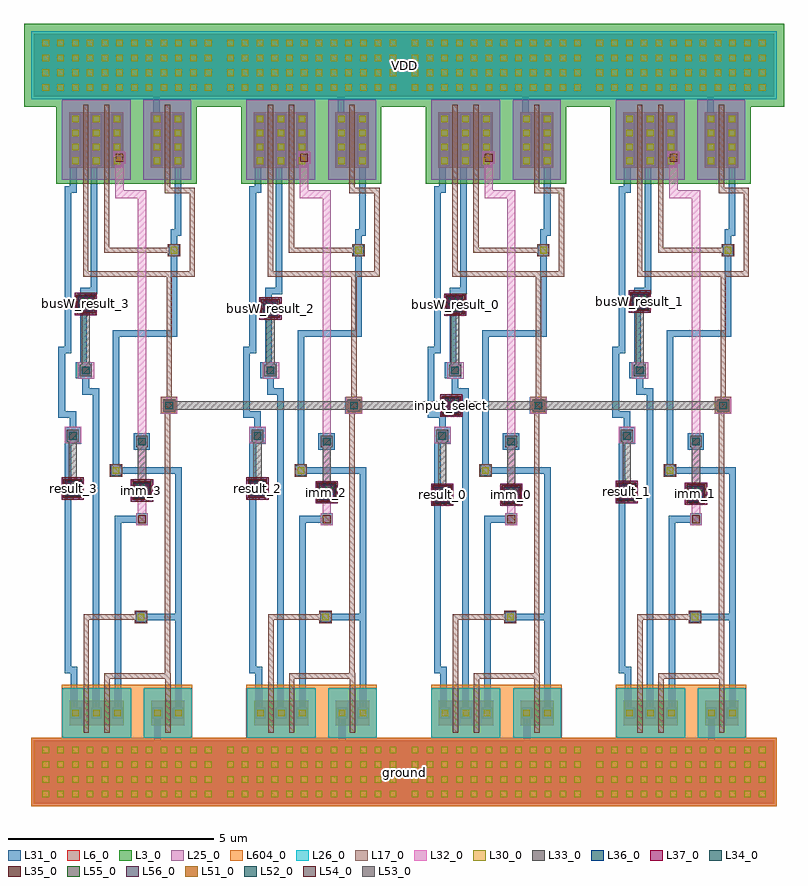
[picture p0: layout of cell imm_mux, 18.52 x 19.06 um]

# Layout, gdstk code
import gdstk
lib = gdstk.Library(unit=1e-6, precision=1e-09)
def R(c, l, rs):  # rectangles x0, y0, x1, y1
    for r in rs: c.add(gdstk.rectangle(r[:2], r[2:], *l))
def A(c, l, x, y, w, h, nx, ny, dx, dy):  # array of equal rectangles
    R(c, l, [(x+i*dx, y+j*dy, x+i*dx+w, y+j*dy+h) for i in range(nx) for j in range(ny)])
def P(c, l, *ps):  # polygons
    for p in ps: c.add(gdstk.Polygon(p, *l))
L3_0 = (3, 0)
L6_0 = (6, 0)
L17_0 = (17, 0)
L25_0 = (25, 0)
L26_0 = (26, 0)
L30_0 = (30, 0)
L31_0 = (31, 0)
L32_0 = (32, 0)
L33_0 = (33, 0)
L34_0 = (34, 0)
L35_0 = (35, 0)
L36_0 = (36, 0)
L37_0 = (37, 0)
L51_0 = (51, 0)
L52_0 = (52, 0)
L53_0 = (53, 0)
L54_0 = (54, 0)
L55_0 = (55, 0)
L56_0 = (56, 0)
L604_0 = (604, 0)

m2m3 = lib.new_cell('M2M3')
R(m2m3, L32_0, [(-0.145,-0.145,0.145,0.145)])
R(m2m3, L33_0, [(-0.145,-0.145,0.145,0.145)])
R(m2m3, L52_0, [(-0.095,-0.095,0.095,0.095)])

m1m2 = lib.new_cell('M1M2')
R(m1m2, L31_0, [(-0.145,-0.145,0.145,0.145)])
R(m1m2, L32_0, [(-0.145,-0.145,0.145,0.145)])
R(m1m2, L51_0, [(-0.095,-0.095,0.095,0.095)])

poly_m1 = lib.new_cell('POLY_M1')
R(poly_m1, L17_0, [(-0.15,-0.15,0.15,0.15)])
R(poly_m1, L30_0, [(-0.08,-0.08,0.08,0.08)])
R(poly_m1, L31_0, [(-0.13,-0.13,0.13,0.13)])

mux21 = lib.new_cell('Mux21')
R(mux21, L3_0, [(-1.815,108.335,1.605,110.465), (-2.605,110.205,2.415,112.225)])
R(mux21, L6_0, [(-2.365,93.225,2.175,94.765), (-1.495,95.135,-0.175,95.735), (0.495,95.135,1.305,95.735), (-1.505,108.725,-0.185,110.075), (0.485,108.725,1.295,110.075), (-2.365,110.445,2.175,111.985)])
R(mux21, L17_0, [(-1.155,94.955,-1.025,95.135), (-0.645,94.955,-0.515,95.135), (0.835,94.955,0.965,95.135), (-1.155,95.135,-1.025,95.735), (-0.645,95.135,-0.515,95.735), (0.835,95.135,0.965,95.735), (-1.155,95.735,-1.025,95.915), (-0.645,95.735,-0.515,95.915), (0.835,95.735,0.965,95.915), (0.835,95.785,0.965,96.4), (0.825,96.27,0.965,96.4), (0.825,96.27,0.955,102.99), (0.87,102.86,1,106.2), (0.87,106.07,1.56,106.2), (-1.165,108.545,-1.035,108.725), (-0.655,108.545,-0.525,108.725), (0.825,108.545,0.955,108.725), (-1.165,108.725,-1.035,110.075), (-0.655,108.725,-0.525,110.075), (0.825,108.725,0.955,110.075), (-1.165,110.075,-1.035,110.255), (-0.655,110.075,-0.525,110.255), (0.825,110.075,0.955,110.255)])
P(mux21, L17_0, [(-1.155,95.785),(-1.025,95.785),(-1.025,97.705),(0.31,97.705),(0.31,97.835),(-1.155,97.835)],
  [(-0.655,106.645),(1.115,106.645),(1.115,106.775),(-0.525,106.775),(-0.525,108.675),(-0.655,108.675)],
  [(0.825,108.1),(1.43,108.1),(1.43,106.07),(1.56,106.07),(1.56,108.23),(0.955,108.23),(0.955,108.675),(0.825,108.675)],
  [(-0.645,95.785),(-0.515,95.785),(-0.515,96.27),(0.955,96.27),(0.955,96.4),(-0.645,96.4)],
  [(-1.165,106.07),(1,106.07),(1,106.2),(-1.035,106.2),(-1.035,108.675),(-1.165,108.675)])
R(mux21, L25_0, [(-2.425,93.165,2.235,94.825), (-1.685,108.425,-0.005,110.375), (0.305,108.425,1.475,110.375)])
R(mux21, L26_0, [(-1.675,94.835,0.005,96.035), (0.315,94.835,1.485,96.035), (-2.425,110.385,2.235,112.045)])
A(mux21, L30_0, -2.155, 93.375, 0.16, 0.16, 12, 4, 0.36, 0.36)
A(mux21, L30_0, -1.425, 95.355, 0.16, 0.16, 3, 1, 0.51, 0)
A(mux21, L30_0, -1.435, 108.81, 0.16, 0.16, 3, 4, 0.51, 0.34)
A(mux21, L30_0, 0.555, 108.81, 0.16, 0.16, 1, 4, 0, 0.34)
A(mux21, L30_0, 1.065, 108.81, 0.16, 0.16, 1, 4, 0, 0.34)
A(mux21, L30_0, -2.155, 110.595, 0.16, 0.16, 12, 4, 0.36, 0.36)
R(mux21, L30_0, [(0.565,95.355,0.725,95.515), (1.075,95.355,1.235,95.515)])
A(mux21, L31_0, -1.475, 95.305, 0.26, 0.26, 3, 1, 0.51, 0)
A(mux21, L31_0, -1.485, 108.76, 0.26, 1.28, 3, 1, 0.51, 0)
R(mux21, L31_0, [(-2.345,93.245,2.155,94.745), (-2.345,93.245,2.155,94.745), (0.57,94.585,0.73,95.465), (0.515,95.305,0.775,95.565), (1.025,95.305,1.285,95.565), (1.075,95.405,1.235,97.85), (0.165,97.69,1.235,97.85), (0.065,101.85,0.465,102.25), (-1.61,102,-1.21,102.4), (0.725,102.73,1.125,103.13), (-1.35,103.585,-0.95,103.985), (0.505,108.76,0.765,110.04), (1.015,108.76,1.275,110.04), (-0.365,108.885,-0.2,109.045), (0.54,109.88,0.7,110.625), (-2.345,110.465,2.155,111.965), (-2.345,110.465,2.155,111.965)])
P(mux21, L31_0, [(0.97,106.63),(1.13,106.63),(1.13,107.06),(1.225,107.06),(1.225,108.92),(1.065,108.92),(1.065,107.22),(0.97,107.22)],
  [(-0.44,101.26),(-0.28,101.26),(-0.28,104.605),(1.13,104.605),(1.13,106.79),(0.97,106.79),(0.97,104.765),(-0.44,104.765)],
  [(-1.18,103.185),(-0.93,103.185),(-0.93,95.405),(-0.77,95.405),(-0.77,103.345),(-1.02,103.345),(-1.02,103.86),(-1.18,103.86)],
  [(-1.23,103.825),(-1.07,103.825),(-1.07,105.635),(-0.815,105.635),(-0.815,108.92),(-0.975,108.92),(-0.975,105.795),(-1.23,105.795)],
  [(-0.44,101.26),(1.075,101.26),(1.075,97.69),(1.235,97.69),(1.235,101.42),(-0.44,101.42)],
  [(-1.61,96.4),(-1.465,96.4),(-1.465,95.405),(-1.305,95.405),(-1.305,96.56),(-1.45,96.56),(-1.45,102.16),(-1.61,102.16)],
  [(-1.765,102.63),(-1.49,102.63),(-1.49,102.24),(-1.33,102.24),(-1.33,102.79),(-1.605,102.79),(-1.605,104.2),(-1.45,104.2),(-1.45,108.115),(-1.325,108.115),(-1.325,108.92),(-1.485,108.92),(-1.485,108.275),(-1.61,108.275),(-1.61,104.36),(-1.765,104.36)],
  [(-0.395,95.405),(-0.235,95.405),(-0.235,100.075),(0.35,100.075),(0.35,100.235),(-0.395,100.235)])
R(mux21, L32_0, [(-1.61,102.005,-1.21,102.405), (0.735,102.73,1.135,103.13), (-1.29,103.58,-0.89,103.98)])
P(mux21, L32_0, [(-0.38,107.975),(0.17,107.975),(0.17,100.055),(0.37,100.055),(0.37,108.175),(-0.18,108.175),(-0.18,109.065),(-0.38,109.065)])
R(mux21, L33_0, [(0.17,101.965,0.37,102.165), (-1.515,102.095,-1.315,102.295), (0.835,102.825,1.035,103.025), (-1.2,103.68,-1,103.88)])
R(mux21, L604_0, [(-2.425,93.165,2.235,94.825), (-1.685,94.745,1.495,96.125), (0.73,102.735,1.13,103.135)])
mux21.add(gdstk.Reference(m2m3, (0.935,102.925)))
mux21.add(gdstk.Reference(m1m2, (-1.415,102.19)))
mux21.add(gdstk.Reference(m1m2, (-1.1,103.78)))
mux21.add(gdstk.Reference(m2m3, (-1.1,103.78)))
mux21.add(gdstk.Reference(poly_m1, (-0.36,101.34)))
mux21.add(gdstk.Reference(m1m2, (0.27,100.155)))
mux21.add(gdstk.Reference(m2m3, (0.27,102.05)))
mux21.add(gdstk.Reference(poly_m1, (0.245,97.77)))
mux21.add(gdstk.Reference(poly_m1, (0.935,102.925)))
mux21.add(gdstk.Reference(m1m2, (0.935,102.925)))
mux21.add(gdstk.Reference(m1m2, (0.27,102.05)))
mux21.add(gdstk.Reference(m2m3, (0.27,102.05)))
mux21.add(gdstk.Reference(m1m2, (-0.28,108.965)))
mux21.add(gdstk.Reference(poly_m1, (1.05,106.71)))
mux21.add(gdstk.Reference(m2m3, (-1.415,102.19)))
mux21.add(gdstk.Label('/M6', (-1.09,95.435), layer=17, texttype=0))
mux21.add(gdstk.Label('/M5', (-0.58,95.435), layer=17, texttype=0))
mux21.add(gdstk.Label('/M1', (0.9,95.435), layer=17, texttype=0))
mux21.add(gdstk.Label('/M3', (-1.1,109.4), layer=17, texttype=0))
mux21.add(gdstk.Label('/M4', (-0.59,109.4), layer=17, texttype=0))
mux21.add(gdstk.Label('/M2', (0.89,109.4), layer=17, texttype=0))
mux21.add(gdstk.Label('Y', (-1.1,103.78), layer=133, texttype=0))
mux21.add(gdstk.Label('A', (-1.415,102.195), layer=133, texttype=0))
mux21.add(gdstk.Label('B', (0.27,102.065), layer=133, texttype=0))
mux21.add(gdstk.Label('S', (0.935,102.925), layer=133, texttype=0))
mux21.add(gdstk.Label('VDD', (-0.095,111.215), layer=131, texttype=0))
mux21.add(gdstk.Label('ground', (-0.095,93.995), layer=131, texttype=0))

m4m5 = lib.new_cell('M4M5')
R(m4m5, L34_0, [(-0.145,-0.145,0.145,0.145)])
R(m4m5, L35_0, [(-0.145,-0.145,0.145,0.145)])
R(m4m5, L54_0, [(-0.095,-0.095,0.095,0.095)])

m5m6 = lib.new_cell('M5M6')
R(m5m6, L35_0, [(-0.23,-0.23,0.23,0.23)])
R(m5m6, L36_0, [(-0.27,-0.27,0.27,0.27)])
R(m5m6, L55_0, [(-0.18,-0.18,0.18,0.18)])

m6m7 = lib.new_cell('M6M7')
R(m6m7, L36_0, [(-0.23,-0.23,0.23,0.23)])
R(m6m7, L37_0, [(-0.27,-0.27,0.27,0.27)])
R(m6m7, L56_0, [(-0.18,-0.18,0.18,0.18)])

m3m4 = lib.new_cell('M3M4')
R(m3m4, L33_0, [(-0.145,-0.145,0.145,0.145)])
R(m3m4, L34_0, [(-0.145,-0.145,0.145,0.145)])
R(m3m4, L53_0, [(-0.095,-0.095,0.095,0.095)])

imm_mux = lib.new_cell('imm_mux')
R(imm_mux, L31_0, [(-3.75,142.335,14.25,143.835), (-3.75,159.555,14.25,161.055)])
R(imm_mux, L33_0, [(6.08,149.74,6.28,151.385), (7.765,149.745,7.965,151.255), (12.265,149.765,12.465,151.255), (3.265,149.8,3.465,151.255), (10.58,149.81,10.78,151.385), (-1.235,149.845,-1.035,151.255), (-2.92,149.895,-2.72,151.385), (1.58,149.895,1.78,151.385), (-0.57,151.915,4.13,152.115), (3.93,151.915,13.13,152.115), (-2.605,152.77,-2.405,154.59), (1.895,152.77,2.095,154.48), (6.395,152.77,6.595,154.575), (10.895,152.77,11.095,154.65)])
R(imm_mux, L34_0, [(7.68,149.635,8.08,150.035), (5.985,149.64,6.385,150.04), (12.155,149.66,12.555,150.06), (3.175,149.705,3.575,150.105), (10.48,149.71,10.88,150.11), (-1.33,149.75,-0.93,150.15), (-3.02,149.795,-2.62,150.195), (1.475,149.8,1.875,150.2), (6.195,151.815,6.595,152.215), (1.77,154.195,2.17,154.595), (6.285,154.285,6.685,154.685), (-2.705,154.295,-2.305,154.695), (10.8,154.345,11.2,154.745)])
R(imm_mux, L37_0, [(6.08,149.74,6.28,149.94), (7.76,149.745,7.96,149.945), (12.265,149.765,12.465,149.965), (3.27,149.8,3.47,150), (10.58,149.81,10.78,150.01), (-1.235,149.835,-1.035,150.035), (-2.915,149.895,-2.715,150.095), (1.585,149.895,1.785,150.095), (6.305,151.91,6.505,152.11), (1.895,154.28,2.095,154.48), (6.395,154.375,6.595,154.575), (-2.615,154.39,-2.415,154.59), (10.895,154.45,11.095,154.65)])
imm_mux.add(gdstk.Reference(mux21, (12.095,49.09)))
imm_mux.add(gdstk.Reference(mux21, (7.595,49.09)))
imm_mux.add(gdstk.Reference(mux21, (3.095,49.09)))
imm_mux.add(gdstk.Reference(mux21, (-1.405,49.09)))
imm_mux.add(gdstk.Reference(m4m5, (10.995,154.55)))
imm_mux.add(gdstk.Reference(m5m6, (10.995,154.55)))
imm_mux.add(gdstk.Reference(m6m7, (10.995,154.55)))
imm_mux.add(gdstk.Reference(m3m4, (6.405,152.015)))
imm_mux.add(gdstk.Reference(m4m5, (6.405,152.015)))
imm_mux.add(gdstk.Reference(m5m6, (6.405,152.015)))
imm_mux.add(gdstk.Reference(m6m7, (6.405,152.015)))
imm_mux.add(gdstk.Reference(m5m6, (-2.82,149.995)))
imm_mux.add(gdstk.Reference(m6m7, (-2.82,149.995)))
imm_mux.add(gdstk.Reference(m3m4, (-2.505,154.49)))
imm_mux.add(gdstk.Reference(m4m5, (-2.505,154.49)))
imm_mux.add(gdstk.Reference(m5m6, (-2.505,154.49)))
imm_mux.add(gdstk.Reference(m6m7, (-2.505,154.49)))
imm_mux.add(gdstk.Reference(m3m4, (1.995,154.38)))
imm_mux.add(gdstk.Reference(m4m5, (1.995,154.38)))
imm_mux.add(gdstk.Reference(m5m6, (1.995,154.38)))
imm_mux.add(gdstk.Reference(m6m7, (1.995,154.38)))
imm_mux.add(gdstk.Reference(m3m4, (6.495,154.475)))
imm_mux.add(gdstk.Reference(m4m5, (6.495,154.475)))
imm_mux.add(gdstk.Reference(m5m6, (6.495,154.475)))
imm_mux.add(gdstk.Reference(m6m7, (6.495,154.475)))
imm_mux.add(gdstk.Reference(m3m4, (10.995,154.55)))
imm_mux.add(gdstk.Reference(m6m7, (1.68,149.995)))
imm_mux.add(gdstk.Reference(m3m4, (10.68,149.91)))
imm_mux.add(gdstk.Reference(m4m5, (10.68,149.91)))
imm_mux.add(gdstk.Reference(m5m6, (10.68,149.91)))
imm_mux.add(gdstk.Reference(m6m7, (10.68,149.91)))
imm_mux.add(gdstk.Reference(m3m4, (12.365,149.865)))
imm_mux.add(gdstk.Reference(m4m5, (12.365,149.865)))
imm_mux.add(gdstk.Reference(m5m6, (12.365,149.865)))
imm_mux.add(gdstk.Reference(m6m7, (12.365,149.865)))
imm_mux.add(gdstk.Reference(m3m4, (-1.135,149.945)))
imm_mux.add(gdstk.Reference(m4m5, (-1.135,149.945)))
imm_mux.add(gdstk.Reference(m5m6, (-1.135,149.945)))
imm_mux.add(gdstk.Reference(m6m7, (-1.135,149.945)))
imm_mux.add(gdstk.Reference(m3m4, (-2.82,149.995)))
imm_mux.add(gdstk.Reference(m4m5, (-2.82,149.995)))
imm_mux.add(gdstk.Reference(m3m4, (7.865,149.845)))
imm_mux.add(gdstk.Reference(m4m5, (7.865,149.845)))
imm_mux.add(gdstk.Reference(m5m6, (7.865,149.845)))
imm_mux.add(gdstk.Reference(m6m7, (7.865,149.845)))
imm_mux.add(gdstk.Reference(m3m4, (6.18,149.84)))
imm_mux.add(gdstk.Reference(m4m5, (6.18,149.84)))
imm_mux.add(gdstk.Reference(m5m6, (6.18,149.84)))
imm_mux.add(gdstk.Reference(m6m7, (6.18,149.84)))
imm_mux.add(gdstk.Reference(m3m4, (3.365,149.9)))
imm_mux.add(gdstk.Reference(m4m5, (3.365,149.9)))
imm_mux.add(gdstk.Reference(m5m6, (3.365,149.9)))
imm_mux.add(gdstk.Reference(m6m7, (3.365,149.9)))
imm_mux.add(gdstk.Reference(m3m4, (1.68,149.995)))
imm_mux.add(gdstk.Reference(m4m5, (1.68,149.995)))
imm_mux.add(gdstk.Reference(m5m6, (1.68,149.995)))
imm_mux.add(gdstk.Label('busW_result_0', (6.495,154.475), layer=137, texttype=0))
imm_mux.add(gdstk.Label('imm_0', (7.86,149.845), layer=137, texttype=0))
imm_mux.add(gdstk.Label('result_0', (6.18,149.84), layer=137, texttype=0))
imm_mux.add(gdstk.Label('busW_result_1', (10.995,154.55), layer=137, texttype=0))
imm_mux.add(gdstk.Label('imm_1', (12.365,149.865), layer=137, texttype=0))
imm_mux.add(gdstk.Label('result_1', (10.68,149.91), layer=137, texttype=0))
imm_mux.add(gdstk.Label('busW_result_2', (1.995,154.38), layer=137, texttype=0))
imm_mux.add(gdstk.Label('input_select', (6.405,152.01), layer=137, texttype=0))
imm_mux.add(gdstk.Label('imm_2', (3.37,149.9), layer=137, texttype=0))
imm_mux.add(gdstk.Label('result_2', (1.685,149.995), layer=137, texttype=0))
imm_mux.add(gdstk.Label('busW_result_3', (-2.515,154.49), layer=137, texttype=0))
imm_mux.add(gdstk.Label('imm_3', (-1.135,149.935), layer=137, texttype=0))
imm_mux.add(gdstk.Label('result_3', (-2.815,149.995), layer=137, texttype=0))
imm_mux.add(gdstk.Label('ground', (5.25,143.085), layer=131, texttype=0))
imm_mux.add(gdstk.Label('VDD', (5.25,160.305), layer=131, texttype=0))

lib.write_gds('imm_mux.gds')
